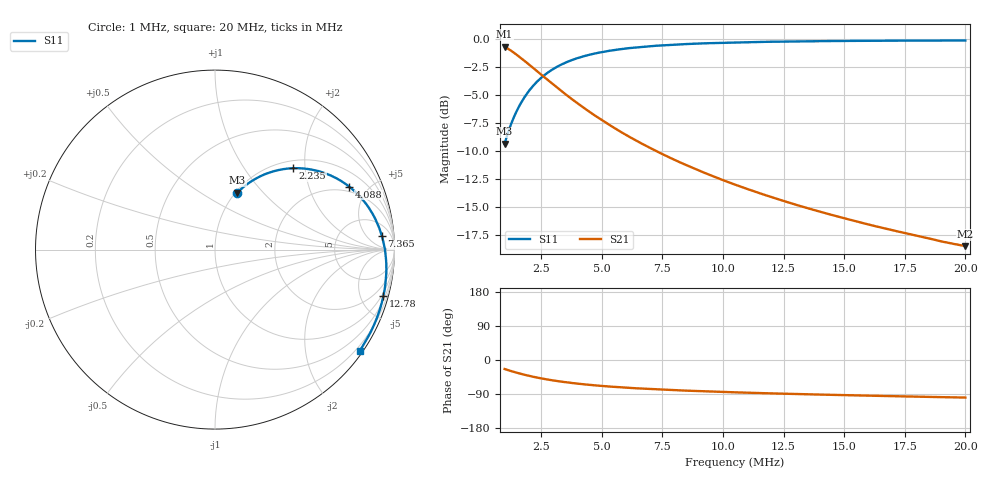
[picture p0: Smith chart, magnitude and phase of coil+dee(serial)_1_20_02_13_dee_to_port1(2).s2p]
# HZ S RI R 50
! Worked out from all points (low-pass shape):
!   401 points, 1 MHz to 20 MHz, reference 50 ohm
!   highest |S21| = -0.69 dB at 1 MHz (marker M1); lowest = -18.5 dB at 20 MHz (marker M2)
!   |S21| within 3 dB of the highest: start of sweep to 2.789 MHz
!   lowest |S11| = -9.3 dB at 1 MHz (marker M3), VSWR 2.04, Z = 51 + j36.6 ohm
!   |S11| at or under -10 dB: nowhere
!   S12 and S22 are empty: the file has one direction only
!   S11 on the Smith chart (normalised r, x): 1 MHz: 1.02, +0.73; 2.235 MHz: 1.15, +1.72; 4.088 MHz: 1.70, +3.75; 7.365 MHz: 12, +14; 12.78 MHz: 0.76, -7.34; 20 MHz: 0.09, -3.17
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1000000  0.1248 0.3177  0.8457 -0.3724  0 0  0 0
1095000  0.1473 0.3388  0.8201 -0.3957  0 0  0 0
1332500  0.2062 0.3829  0.7544 -0.4435  0 0  0 0
1617500  0.2799 0.4206  0.6751 -0.4832  0 0  0 0
1902500  0.3531 0.443  0.5993 -0.5068  0 0  0 0
2235000  0.4341 0.4534  0.5183 -0.5186  0 0  0 0
2662500  0.5279 0.4475  0.4286 -0.5168  0 0  0 0
3090000  0.6083 0.4272  0.3545 -0.5031  0 0  0 0
3565000  0.6823 0.3941  0.2883 -0.4808  0 0  0 0
4087500  0.7474 0.3511  0.2315 -0.4532  0 0  0 0
4182500  0.7579 0.3427  0.2225 -0.4481  0 0  0 0
4847500  0.8182 0.2838  0.1702 -0.4127  0 0  0 0
5607500  0.8674 0.217  0.1269 -0.3752  0 0  0 0
6415000  0.9033 0.1491  0.0937 -0.3402  0 0  0 0
7365000  0.9301 0.075  0.0663 -0.305  0 0  0 0
8837500  0.9506 -0.0293  0.0379 -0.2613  0 0  0 0
1.05e7  0.9544 -0.1331  0.0182 -0.2238  0 0  0 0
1.278e7  0.9383 -0.2578  0.00192 -0.1858  0 0  0 0
1.36825e7  0.9273 -0.3024  -0.00243 -0.1739  0 0  0 0
1.506e7  0.9072 -0.3666  -0.00765 -0.1582  0 0  0 0
1.6865e7  0.8742 -0.4446  -0.0129 -0.1412  0 0  0 0
2e7  0.8054 -0.5639  -0.0189 -0.1179  0 0  0 0
